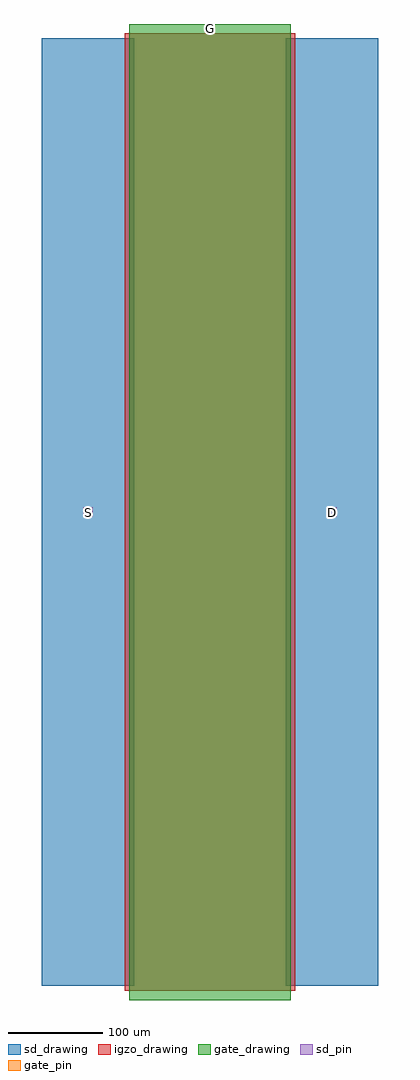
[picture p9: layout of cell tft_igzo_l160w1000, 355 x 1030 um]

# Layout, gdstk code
import gdstk
lib = gdstk.Library(unit=1e-6, precision=1e-09)
def R(c, l, rs):  # rectangles x0, y0, x1, y1
    for r in rs: c.add(gdstk.rectangle(r[:2], r[2:], *l))
gate_drawing = (2, 0)
gate_pin = (2, 10)
igzo_drawing = (4, 0)
sd_drawing = (6, 0)
sd_pin = (6, 10)

tft_igzo_l160w1000 = lib.new_cell('tft_igzo_l160w1000')
R(tft_igzo_l160w1000, gate_drawing, [(-85,-515,85,515)])
R(tft_igzo_l160w1000, gate_pin, [(-4.88,505.12,4.88,514.88)])
R(tft_igzo_l160w1000, igzo_drawing, [(-90,-505,90,505)])
R(tft_igzo_l160w1000, sd_drawing, [(-177.5,-500,-80,500), (80,-500,177.5,500)])
R(tft_igzo_l160w1000, sd_pin, [(-133.63,-4.88,-123.87,4.88), (123.87,-4.88,133.63,4.88)])
tft_igzo_l160w1000.add(gdstk.Label('S', (-128.75,0), layer=6, texttype=10))
tft_igzo_l160w1000.add(gdstk.Label('D', (128.75,0), layer=6, texttype=10))
tft_igzo_l160w1000.add(gdstk.Label('G', (0,510), layer=2, texttype=10))

lib.write_gds('tft_igzo_l160w1000.gds')
